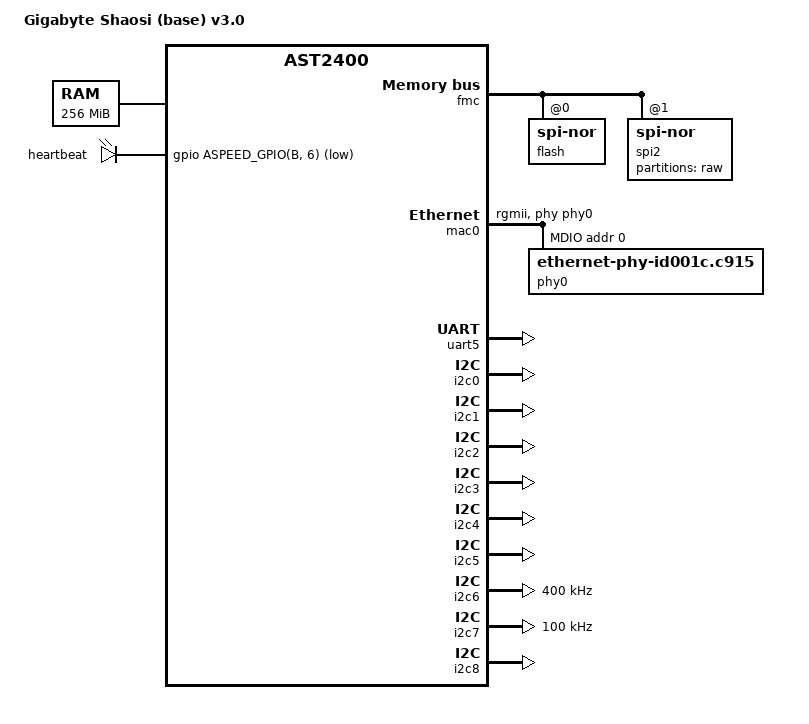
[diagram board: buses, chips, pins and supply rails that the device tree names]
/dts-v1/;

#include "aspeed-g4.dtsi"
#include <dt-bindings/gpio/gpio.h>
#include <dt-bindings/gpio/aspeed-gpio.h>

/ {
	model = "Gigabyte Shaosi (base) v3.0";
	compatible = "openbmc,common", "aspeed,ast2400";

	aliases {
		serial4 = &uart5;
	};

	chosen {
		stdout-path = &uart5;
		bootargs = "console=ttyS4,115200 earlyprintk ramdisk_size=16384 panic=10 root=/dev/ram0 rw";
	};

	memory {
		reg = < 0x40000000 0x10000000 >;
	};

	ahb: ahb {
		fmc:	fmc@1e620000 {
			reg = < 0x1e620000 0x94
				0x20000000 0x06000000 >;
			#address-cells = <1>;
			#size-cells = <0>;
			compatible = "aspeed,ast2400-fmc";
			flash@0 {
				reg = < 0 >;
				compatible = "jedec,spi-nor" ;
				/* label = "bmc"; */
				/*
				 * Possibly required props:
				 * spi-max-frequency = <>
				 * spi-tx-bus-width = <>
				 * spi-rx-bus-width  = <>
				 * m25p,fast-read
				 * spi-cpol if inverse clock polarity (CPOL)
				 * spi-cpha if shifted clock phase (CPHA)
				 */
#include "aspeed-bmc-opp-flash-layout.dtsi"
			};

			flash@1 {
				reg = < 1 >;
				compatible = "jedec,spi-nor" ;
				label = "spi2";
				partitions {
					compatible = "fixed-partitions";
					raw@0 {
						reg = < 0 0x02000000 >;
						label = "raw";
					};
				};
			};


		};
	};

	leds: leds {
		compatible = "gpio-leds";

		heartbeat {
			label = "heartbeat";
			gpios = <&gpio ASPEED_GPIO(B, 6) GPIO_ACTIVE_LOW>;
			linux,default-trigger = "heartbeat";
		};
	};
};

&mac0 {
	status = "okay";
	compatible = "faraday,ftgmac100", "aspeed,ast2400-mac";

	no-hw-checksum;

	phy-handle = <&phy0>;
	phy-mode = "rgmii";

	pinctrl-names = "default";
	pinctrl-0 = <&pinctrl_rgmii1_default &pinctrl_mdio1_default>;

	mdio {
		phy0: phy@0 {
			compatible = "ethernet-phy-id001c.c915";
			reg = <0>;
		};
	};
};

&uart5 {
	status = "okay";
};

&i2c0 {
	status = "okay";
};

&i2c1 {
	status = "okay";
};

&i2c2 {
	status = "okay";
};

&i2c3 {
	status = "okay";
};

&i2c4 {
	status = "okay";
};

&i2c5 {
	status = "okay";
};

&i2c6 {
	status = "okay";
	clock-frequency = <400000>;
};

&i2c7 {
	status = "okay";
	clock-frequency = <100000>;
};

&i2c8 {
	status = "okay";
};
